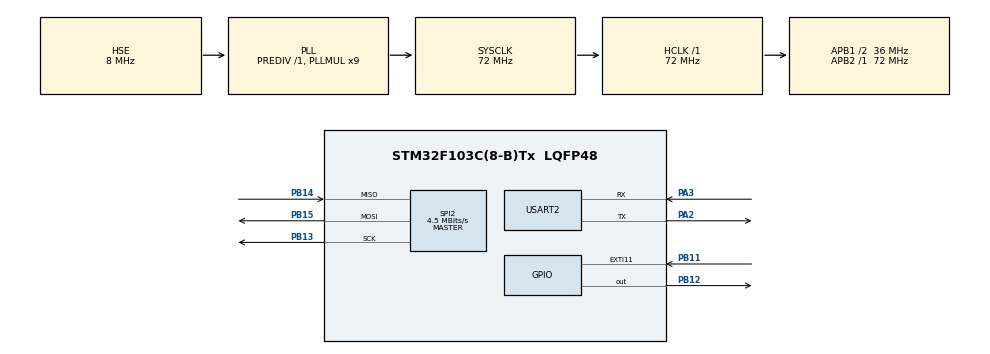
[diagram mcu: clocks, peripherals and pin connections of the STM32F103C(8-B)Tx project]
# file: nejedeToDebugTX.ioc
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Mcu.Family=STM32F1
Mcu.Name=STM32F103C(8-B)Tx
Mcu.Package=LQFP48
NVIC.EXTI15_10_IRQn=true\:0\:0\:false\:false\:true\:true\:true\:true
NVIC.PriorityGroup=NVIC_PRIORITYGROUP_4
NVIC.USART2_IRQn=true\:0\:0\:false\:false\:true\:true\:true\:true
PA13.Mode=Serial_Wire
PA13.Signal=SYS_JTMS-SWDIO
PA14.Mode=Serial_Wire
PA14.Signal=SYS_JTCK-SWCLK
PA2.Mode=Asynchronous
PA2.Signal=USART2_TX
PA3.Mode=Asynchronous
PA3.Signal=USART2_RX
PB11.Signal=GPXTI11
PB12.Signal=GPIO_Output
PB13.Mode=Full_Duplex_Master
PB13.Signal=SPI2_SCK
PB14.Mode=Full_Duplex_Master
PB14.Signal=SPI2_MISO
PB15.Mode=Full_Duplex_Master
PB15.Signal=SPI2_MOSI
PD0-OSC_IN.Mode=HSE-External-Oscillator
PD0-OSC_IN.Signal=RCC_OSC_IN
PD1-OSC_OUT.Mode=HSE-External-Oscillator
PD1-OSC_OUT.Signal=RCC_OSC_OUT
ProjectManager.HeapSize=0x200
ProjectManager.StackSize=0x400
ProjectManager.TargetToolchain=STM32CubeIDE
RCC.AHBFreq_Value=72000000
RCC.APB1CLKDivider=RCC_HCLK_DIV2
RCC.APB1Freq_Value=36000000
RCC.APB1TimFreq_Value=72000000
RCC.APB2Freq_Value=72000000
RCC.APB2TimFreq_Value=72000000
RCC.HCLKFreq_Value=72000000
RCC.PLLMUL=RCC_PLL_MUL9
RCC.PLLSourceVirtual=RCC_PLLSOURCE_HSE
RCC.SYSCLKFreq_VALUE=72000000
RCC.SYSCLKSource=RCC_SYSCLKSOURCE_PLLCLK
RCC.USBFreq_Value=72000000
SPI2.BaudRatePrescaler=SPI_BAUDRATEPRESCALER_8
SPI2.CalculateBaudRate=4.5 MBits/s
SPI2.Direction=SPI_DIRECTION_2LINES
SPI2.Mode=SPI_MODE_MASTER
SPI2.VirtualType=VM_MASTER
USART2.VirtualMode=VM_ASYNC
board=custom

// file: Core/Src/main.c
/* USER CODE BEGIN Header */
/**
 ******************************************************************************
 * @file           : main.c
 * @brief          : Main program body
 ******************************************************************************
 * @attention
 *
 * Copyright (c) 2025 STMicroelectronics.
 * All rights reserved.
 *
 * This software is licensed under terms that can be found in the LICENSE file
 * in the root directory of this software component.
 * If no LICENSE file comes with this software, it is provided AS-IS.
 *
 ******************************************************************************
 */
/* USER CODE END Header */
#include <si4432.h>
#include "main.h"

/* USER CODE BEGIN Includes */
#include <string.h>
/* USER CODE END Includes */

SPI_HandleTypeDef hspi2;

UART_HandleTypeDef huart2;

/* USER CODE BEGIN PV */
volatile uint8_t rxDoneFlag = 0;
uint8_t buffer[500];
/* USER CODE END PV */

void SystemClock_Config(void);
static void MX_GPIO_Init(void);
static void MX_USART2_UART_Init(void);
static void MX_SPI2_Init(void);

/* USER CODE BEGIN 0 */
void HAL_GPIO_EXTI_Callback(uint16_t GPIO_Pin) {
	if (GPIO_Pin == GPIO_PIN_11) {
		rxDoneFlag = 1;
	}
}
/* USER CODE END 0 */

int main(void)
{

  /* MCU Configuration--------------------------------------------------------*/

  /* Reset of all peripherals, Initializes the Flash interface and the Systick. */
  HAL_Init();

  /* Configure the system clock */
  SystemClock_Config();

  /* Initialize all configured peripherals */
  MX_GPIO_Init();
  MX_USART2_UART_Init();
  MX_SPI2_Init();
  /* USER CODE BEGIN 2 */
	SI44_Init(&hspi2, GPIOB, GPIO_PIN_12);
	HAL_Delay(5000);
	SI44_PresetConfig();
	SI44_SetAGCMode(0b00100000); //6th bit - sgin
	SI44_SetInterrupts1(0b00000010); //1st = CRC error
	SI44_SetInterrupts2(0b00000000);
	SI44_SetTXPower(SI44_TX_POWER_11dBm);    //Set TX power to 11dBm (12.5 mW)
	//SI44_SetRXon();
  /* USER CODE END 2 */

  /* Infinite loop */
  /* USER CODE BEGIN WHILE */
	while (1) {
		/*if(rxDoneFlag==1)
		 {
		 SI44_ReadPacket(buffer);
		 HAL_UART_Transmit(&huart2, buffer, 10, 100);
		 rxDoneFlag=0;
		 }*/
		//HAL_Delay(1000);
		//char msg[] = "\nUART test - odeslano pres IT nema se ukazovat\r\n";
		//HAL_UART_Transmit(&huart2, (uint8_t*)msg, strlen(msg), 100);
		uint8_t msg[20];
		for(int i=0; i<10000;i++)
		{
		sprintf(msg, "%d", i);
		SI44_SendPacket(msg, sizeof(msg)); //sizeof, asi ne strlen, neni potreba nulovy terminator //nebo &msg[0]
		HAL_Delay(2000);
		}
    /* USER CODE END WHILE */

	}
}

void SystemClock_Config(void)
{
  RCC_OscInitTypeDef RCC_OscInitStruct = {0};
  RCC_ClkInitTypeDef RCC_ClkInitStruct = {0};

  /** Initializes the RCC Oscillators according to the specified parameters
  * in the RCC_OscInitTypeDef structure.
  */
  RCC_OscInitStruct.OscillatorType = RCC_OSCILLATORTYPE_HSE;
  RCC_OscInitStruct.HSEState = RCC_HSE_ON;
  RCC_OscInitStruct.HSEPredivValue = RCC_HSE_PREDIV_DIV1;
  RCC_OscInitStruct.HSIState = RCC_HSI_ON;
  RCC_OscInitStruct.PLL.PLLState = RCC_PLL_ON;
  RCC_OscInitStruct.PLL.PLLSource = RCC_PLLSOURCE_HSE;
  RCC_OscInitStruct.PLL.PLLMUL = RCC_PLL_MUL9;
  if (HAL_RCC_OscConfig(&RCC_OscInitStruct) != HAL_OK)
  {
    Error_Handler();
  }

  /** Initializes the CPU, AHB and APB buses clocks
  */
  RCC_ClkInitStruct.ClockType = RCC_CLOCKTYPE_HCLK|RCC_CLOCKTYPE_SYSCLK
                              |RCC_CLOCKTYPE_PCLK1|RCC_CLOCKTYPE_PCLK2;
  RCC_ClkInitStruct.SYSCLKSource = RCC_SYSCLKSOURCE_PLLCLK;
  RCC_ClkInitStruct.AHBCLKDivider = RCC_SYSCLK_DIV1;
  RCC_ClkInitStruct.APB1CLKDivider = RCC_HCLK_DIV2;
  RCC_ClkInitStruct.APB2CLKDivider = RCC_HCLK_DIV1;

  if (HAL_RCC_ClockConfig(&RCC_ClkInitStruct, FLASH_LATENCY_2) != HAL_OK)
  {
    Error_Handler();
  }
}

static void MX_SPI2_Init(void)
{

  /* SPI2 parameter configuration*/
  hspi2.Instance = SPI2;
  hspi2.Init.Mode = SPI_MODE_MASTER;
  hspi2.Init.Direction = SPI_DIRECTION_2LINES;
  hspi2.Init.DataSize = SPI_DATASIZE_8BIT;
  hspi2.Init.CLKPolarity = SPI_POLARITY_LOW;
  hspi2.Init.CLKPhase = SPI_PHASE_1EDGE;
  hspi2.Init.NSS = SPI_NSS_SOFT;
  hspi2.Init.BaudRatePrescaler = SPI_BAUDRATEPRESCALER_8;
  hspi2.Init.FirstBit = SPI_FIRSTBIT_MSB;
  hspi2.Init.TIMode = SPI_TIMODE_DISABLE;
  hspi2.Init.CRCCalculation = SPI_CRCCALCULATION_DISABLE;
  hspi2.Init.CRCPolynomial = 10;
  if (HAL_SPI_Init(&hspi2) != HAL_OK)
  {
    Error_Handler();
  }

}

static void MX_USART2_UART_Init(void)
{

  huart2.Instance = USART2;
  huart2.Init.BaudRate = 115200;
  huart2.Init.WordLength = UART_WORDLENGTH_8B;
  huart2.Init.StopBits = UART_STOPBITS_1;
  huart2.Init.Parity = UART_PARITY_NONE;
  huart2.Init.Mode = UART_MODE_TX_RX;
  huart2.Init.HwFlowCtl = UART_HWCONTROL_NONE;
  huart2.Init.OverSampling = UART_OVERSAMPLING_16;
  if (HAL_UART_Init(&huart2) != HAL_OK)
  {
    Error_Handler();
  }

}

static void MX_GPIO_Init(void)
{
  GPIO_InitTypeDef GPIO_InitStruct = {0};

  /* GPIO Ports Clock Enable */
  __HAL_RCC_GPIOD_CLK_ENABLE();
  __HAL_RCC_GPIOA_CLK_ENABLE();
  __HAL_RCC_GPIOB_CLK_ENABLE();

  /*Configure GPIO pin Output Level */
  HAL_GPIO_WritePin(GPIOB, GPIO_PIN_12, GPIO_PIN_RESET);

  /*Configure GPIO pin : PB11 */
  GPIO_InitStruct.Pin = GPIO_PIN_11;
  GPIO_InitStruct.Mode = GPIO_MODE_IT_RISING;
  GPIO_InitStruct.Pull = GPIO_NOPULL;
  HAL_GPIO_Init(GPIOB, &GPIO_InitStruct);

  /*Configure GPIO pin : PB12 */
  GPIO_InitStruct.Pin = GPIO_PIN_12;
  GPIO_InitStruct.Mode = GPIO_MODE_OUTPUT_PP;
  GPIO_InitStruct.Pull = GPIO_NOPULL;
  GPIO_InitStruct.Speed = GPIO_SPEED_FREQ_LOW;
  HAL_GPIO_Init(GPIOB, &GPIO_InitStruct);

  /* EXTI interrupt init*/
  HAL_NVIC_SetPriority(EXTI15_10_IRQn, 0, 0);
  HAL_NVIC_EnableIRQ(EXTI15_10_IRQn);

}

void Error_Handler(void)
{
	__disable_irq();
	while (1) {
	}
}
